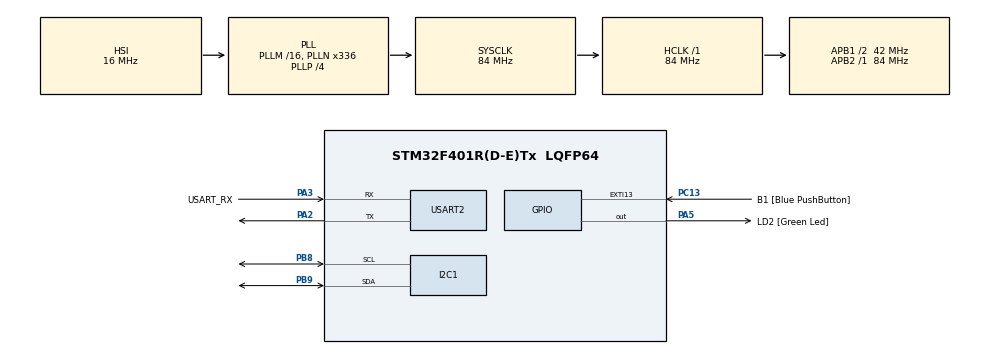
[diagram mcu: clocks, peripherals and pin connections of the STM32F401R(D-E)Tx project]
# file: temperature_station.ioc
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Mcu.Family=STM32F4
Mcu.Name=STM32F401R(D-E)Tx
Mcu.Package=LQFP64
NVIC.EXTI15_10_IRQn=true\:0\:0\:false\:false\:true\:true\:true\:true
NVIC.PriorityGroup=NVIC_PRIORITYGROUP_0
NVIC.TIM1_UP_TIM10_IRQn=true\:0\:0\:false\:false\:true\:true\:true\:true
PA13.GPIO_Label=TMS
PA13.Signal=SYS_JTMS-SWDIO
PA14.GPIO_Label=TCK
PA14.Signal=SYS_JTCK-SWCLK
PA2.Mode=Asynchronous
PA2.Signal=USART2_TX
PA3.GPIO_Label=USART_RX
PA3.GPIO_Mode=GPIO_MODE_AF_PP
PA3.GPIO_PuPd=GPIO_NOPULL
PA3.GPIO_Speed=GPIO_SPEED_FREQ_LOW
PA3.Mode=Asynchronous
PA3.Signal=USART2_RX
PA5.GPIO_Label=LD2 [Green Led]
PA5.GPIO_Mode=GPIO_MODE_OUTPUT_PP
PA5.GPIO_PuPd=GPIO_PULLUP
PA5.GPIO_Speed=GPIO_SPEED_FREQ_LOW
PA5.Signal=GPIO_Output
PB3.GPIO_Label=SWO
PB3.Signal=SYS_JTDO-SWO
PB8.GPIO_Pu=GPIO_PULLUP
PB8.Mode=I2C
PB8.Signal=I2C1_SCL
PB9.GPIO_Pu=GPIO_PULLUP
PB9.Mode=I2C
PB9.Signal=I2C1_SDA
PC13-ANTI_TAMP.GPIO_Label=B1 [Blue PushButton]
PC13-ANTI_TAMP.GPIO_ModeDefaultEXTI=GPIO_MODE_IT_FALLING
PC13-ANTI_TAMP.GPIO_PuPd=GPIO_PULLUP
PC13-ANTI_TAMP.Signal=GPXTI13
PC14-OSC32_IN.Signal=RCC_OSC32_IN
PC15-OSC32_OUT.Signal=RCC_OSC32_OUT
PH0\ -\ OSC_IN.Signal=RCC_OSC_IN
PH1\ -\ OSC_OUT.Signal=RCC_OSC_OUT
ProjectManager.HeapSize=0x800
ProjectManager.StackSize=0x800
ProjectManager.TargetToolchain=STM32CubeIDE
RCC.AHBFreq_Value=84000000
RCC.APB1CLKDivider=RCC_HCLK_DIV2
RCC.APB1Freq_Value=42000000
RCC.APB1TimFreq_Value=84000000
RCC.APB2Freq_Value=84000000
RCC.APB2TimFreq_Value=84000000
RCC.CortexFreq_Value=84000000
RCC.HCLKFreq_Value=84000000
RCC.HSE_VALUE=8000000
RCC.HSI_VALUE=16000000
RCC.LSE_VALUE=32768
RCC.PLLN=336
RCC.PLLP=RCC_PLLP_DIV4
RCC.PLLQ=7
RCC.SYSCLKFreq_VALUE=84000000
RCC.SYSCLKSource=RCC_SYSCLKSOURCE_PLLCLK
RCC.VCOOutputFreq_Value=336000000
STMicroelectronics.X-CUBE-AI.5.2.0.ActivationBufferSizeList=104
STMicroelectronics.X-CUBE-AI.5.2.0.ActivationBuffers=pool0
STMicroelectronics.X-CUBE-AI.5.2.0.ActivationNames=pool0
STMicroelectronics.X-CUBE-AI.5.2.0.ActivationSizes=AI_TEMP_MODEL_DATA_ACTIVATION_1_SIZE
STMicroelectronics.X-CUBE-AI.5.2.0.HeapSize=0x800
STMicroelectronics.X-CUBE-AI.5.2.0.InternalRamActivationBufferMaxSize=AI_TEMP_MODEL_DATA_ACTIVATIONS_SIZE
STMicroelectronics.X-CUBE-AI.5.2.0.LatestDirectoryUsed-ae2a8450df9272bb106bb3eb8194075932654a77e3532f989f4cb864988f2723=C\:\\Users\\leocl\\Desktop\\UFSC\\Oitavo_Semestre\\EEL7323_Sistemas_Embarcados
STMicroelectronics.X-CUBE-AI.5.2.0.MaximumNumberOfInputLayer=1
STMicroelectronics.X-CUBE-AI.5.2.0.MaximumNumberOfOutputLayer=1
STMicroelectronics.X-CUBE-AI.5.2.0.MaximumSizeOfInputLayer=AI_TEMP_MODEL_IN_1_SIZE_BYTES
STMicroelectronics.X-CUBE-AI.5.2.0.MaximumSizeOfOutputLayer=AI_TEMP_MODEL_OUT_1_SIZE_BYTES
STMicroelectronics.X-CUBE-AI.5.2.0.ModelActualCompression-ae2a8450df9272bb106bb3eb8194075932654a77e3532f989f4cb864988f2723=0.0
STMicroelectronics.X-CUBE-AI.5.2.0.ModelCompression-ae2a8450df9272bb106bb3eb8194075932654a77e3532f989f4cb864988f2723=1
STMicroelectronics.X-CUBE-AI.5.2.0.ModelFlashOccupation-ae2a8450df9272bb106bb3eb8194075932654a77e3532f989f4cb864988f2723=708
STMicroelectronics.X-CUBE-AI.5.2.0.ModelHashList=ae2a8450df9272bb106bb3eb8194075932654a77e3532f989f4cb864988f2723
STMicroelectronics.X-CUBE-AI.5.2.0.ModelKind-ae2a8450df9272bb106bb3eb8194075932654a77e3532f989f4cb864988f2723=TFLITE
STMicroelectronics.X-CUBE-AI.5.2.0.ModelMacc-ae2a8450df9272bb106bb3eb8194075932654a77e3532f989f4cb864988f2723=176
STMicroelectronics.X-CUBE-AI.5.2.0.ModelName-ae2a8450df9272bb106bb3eb8194075932654a77e3532f989f4cb864988f2723=temp_model
STMicroelectronics.X-CUBE-AI.5.2.0.ModelNameList=temp_model
STMicroelectronics.X-CUBE-AI.5.2.0.ModelRamOccupation-ae2a8450df9272bb106bb3eb8194075932654a77e3532f989f4cb864988f2723=104
STMicroelectronics.X-CUBE-AI.5.2.0.ModelStructureFile-ae2a8450df9272bb106bb3eb8194075932654a77e3532f989f4cb864988f2723=C\:\\Users\\leocl\\Desktop\\UFSC\\Oitavo_Semestre\\EEL7323_Sistemas_Embarcados\\temperature_model.tflite
STMicroelectronics.X-CUBE-AI.5.2.0.ModelType-ae2a8450df9272bb106bb3eb8194075932654a77e3532f989f4cb864988f2723=Saved model
STMicroelectronics.X-CUBE-AI.5.2.0.ReadyForCodeGeneration=true
STMicroelectronics.X-CUBE-AI.5.2.0.StackSize=0x800
STMicroelectronics.X-CUBE-AI.5.2.0.WorkingBufferStartAddrList=0xFFFFFFFF
STMicroelectronics.X-CUBE-AI.5.2.0.XAaCUBEAaAICcArtificialOoIntelligenceJjCore=true
TIM10.Period=10000
TIM10.Prescaler=8400-1
USART2.VirtualMode=VM_ASYNC
VP_CRC_VS_CRC.Mode=CRC_Activate
VP_STMicroelectronics.X-CUBE-AI_VS_ArtificialOoIntelligenceJjXAaCUBEAaAI_5.2.0.Mode=ArtificialOoIntelligenceJjXAaCUBEAaAI
VP_TIM10_VS_ClockSourceINT.Mode=Enable_Timer
board=NUCLEO-F401RE

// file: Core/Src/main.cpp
/* USER CODE BEGIN Header */
/**
  ******************************************************************************
  * @file           : main.c
  * @brief          : Main program body
  ******************************************************************************
  * @attention
  *
  * Copyright (c) 2022 STMicroelectronics.
  * All rights reserved.
  *
  * This software is licensed under terms that can be found in the LICENSE file
  * in the root directory of this software component.
  * If no LICENSE file comes with this software, it is provided AS-IS.
  *
  ******************************************************************************
  */
/* USER CODE END Header */
#include "main.h"

/* USER CODE BEGIN Includes */
#include "MPU6050.h"
#include "gpio.h"
#include "clockcalendar.h"
#include "communication.h"
#include "crc.h"
#include "model.h"
#include "tim.h"
/* USER CODE END Includes */

void SystemClock_Config(void);

/* USER CODE BEGIN 0 */
MPU6050 mpu;
Communication* comm;
Model model;
ClockCalendar cc(11, 30, 22, 10, 9, 59, 1);
Data* pd;
bool predIsCorrect;
float temperature;
float pred, measure;
/* USER CODE END 0 */

int main(void)
{

  /* MCU Configuration--------------------------------------------------------*/

  /* Reset of all peripherals, Initializes the Flash interface and the Systick. */
  HAL_Init();

  /* Configure the system clock */
  SystemClock_Config();

  /* Initialize all configured peripherals */
  MX_GPIO_Init();
  MX_I2C1_Init();
  MX_USART2_UART_Init();
  MX_CRC_Init();
  MX_TIM10_Init();
  __HAL_RCC_CRC_CLK_ENABLE();
  /* USER CODE BEGIN 2 */
  HAL_TIM_Base_Start_IT(&htim10);
  mpu.init();
  model.init();
  comm = new Serial();
  uint8_t deviceID = 2;
  /* USER CODE END 2 */

  /* Infinite loop */
  /* USER CODE BEGIN WHILE */
  while (1)
  {
	//Realiza a aquisicao das medidas do sensor
	//Acumula 9 medidas para o buffer de entrada do modelo
	for (uint32_t i = 0; i < AI_TEMP_MODEL_IN_1_SIZE; i++)
	{

	  mpu.readTemperature();
	  temperature = mpu.getTemperature();
	  model.fillInput(temperature, i);

	}

	//Predicao do proximo valor de temperatura
	pred = model.run();

	//Aquisicao de um novo valor de temperatura
	measure = mpu.getTemperature();

	//Compara a predicao com o valor medido
	predIsCorrect = comm->verifyPrediction(measure, pred);

	//Ponteiro com as informacoes para adicionar na fila
	pd = new Data(deviceID, cc, measure, predIsCorrect);

	//Adiciona elemento na fila
	comm->addDataToQueue(pd);

    /* USER CODE END WHILE */
  }
}

void SystemClock_Config(void)
{
  RCC_OscInitTypeDef RCC_OscInitStruct = {0};
  RCC_ClkInitTypeDef RCC_ClkInitStruct = {0};

  /** Configure the main internal regulator output voltage
  */
  __HAL_RCC_PWR_CLK_ENABLE();
  __HAL_PWR_VOLTAGESCALING_CONFIG(PWR_REGULATOR_VOLTAGE_SCALE2);

  /** Initializes the RCC Oscillators according to the specified parameters
  * in the RCC_OscInitTypeDef structure.
  */
  RCC_OscInitStruct.OscillatorType = RCC_OSCILLATORTYPE_HSI;
  RCC_OscInitStruct.HSIState = RCC_HSI_ON;
  RCC_OscInitStruct.HSICalibrationValue = RCC_HSICALIBRATION_DEFAULT;
  RCC_OscInitStruct.PLL.PLLState = RCC_PLL_ON;
  RCC_OscInitStruct.PLL.PLLSource = RCC_PLLSOURCE_HSI;
  RCC_OscInitStruct.PLL.PLLM = 16;
  RCC_OscInitStruct.PLL.PLLN = 336;
  RCC_OscInitStruct.PLL.PLLP = RCC_PLLP_DIV4;
  RCC_OscInitStruct.PLL.PLLQ = 7;
  if (HAL_RCC_OscConfig(&RCC_OscInitStruct) != HAL_OK)
  {
    Error_Handler();
  }

  /** Initializes the CPU, AHB and APB buses clocks
  */
  RCC_ClkInitStruct.ClockType = RCC_CLOCKTYPE_HCLK|RCC_CLOCKTYPE_SYSCLK
                              |RCC_CLOCKTYPE_PCLK1|RCC_CLOCKTYPE_PCLK2;
  RCC_ClkInitStruct.SYSCLKSource = RCC_SYSCLKSOURCE_PLLCLK;
  RCC_ClkInitStruct.AHBCLKDivider = RCC_SYSCLK_DIV1;
  RCC_ClkInitStruct.APB1CLKDivider = RCC_HCLK_DIV2;
  RCC_ClkInitStruct.APB2CLKDivider = RCC_HCLK_DIV1;

  if (HAL_RCC_ClockConfig(&RCC_ClkInitStruct, FLASH_LATENCY_2) != HAL_OK)
  {
    Error_Handler();
  }
}

/* USER CODE BEGIN 4 */
void HAL_GPIO_EXTI_Callback(uint16_t GPIO_Pin)
{
	//Envia os dados para o computador
	comm->sendData();
}

void HAL_TIM_PeriodElapsedCallback(TIM_HandleTypeDef* htim)
{
	//Incrementa a timestamp a cada 1 segundo
	cc.advance();
}

/* USER CODE END 4 */

void Error_Handler(void)
{
  __disable_irq();
  while (1)
  {
  }
}
